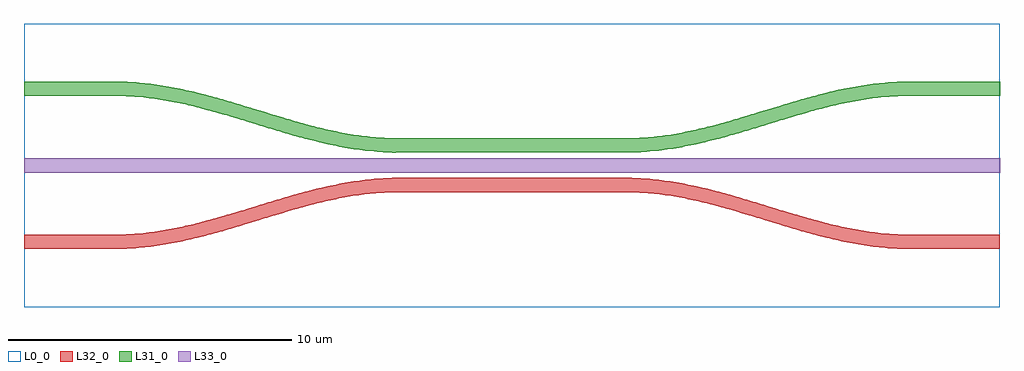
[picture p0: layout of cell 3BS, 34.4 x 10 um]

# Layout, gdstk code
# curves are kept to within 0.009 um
import gdstk
lib = gdstk.Library(unit=1e-6, precision=1e-09)
def R(c, l, rs):  # rectangles x0, y0, x1, y1
    for r in rs: c.add(gdstk.rectangle(r[:2], r[2:], *l))
def P(c, l, *ps):  # polygons
    for p in ps: c.add(gdstk.Polygon(p, *l))
L0_0 = (0, 0)
L1_0 = (1, 0)
L2_0 = (2, 0)
L3_0 = (3, 0)
L4_0 = (4, 0)
L5_0 = (5, 0)
L6_0 = (6, 0)
L7_0 = (7, 0)
L31_0 = (31, 0)
L32_0 = (32, 0)
L33_0 = (33, 0)

c_3bs = lib.new_cell('3BS')
R(c_3bs, L0_0, [(-17.2,-5,17.2,5)])
R(c_3bs, L31_0, [(-3.999,0.46,4.003,0.96)])
P(c_3bs, L31_0, [(4.109,0.459),(4.003,0.46),(4.003,0.96),(4.609,0.978),(5.31,1.048),(5.805,1.125),(6.493,1.264),(7.663,1.567),(10.499,2.413),(11.198,2.593),(11.906,2.746),(12.73,2.877),(13.149,2.921),(13.679,2.953),(17.201,2.958),(17.201,2.458),(13.797,2.456),(13.191,2.423),(12.395,2.324),(11.705,2.195),(10.923,2.009),(10.145,1.793),(7.8,1.086),(7.205,0.923),(6.502,0.754),(5.892,0.633),(5.272,0.539),(4.642,0.479)],
  [(-4.213,0.458),(-4.85,0.494),(-5.477,0.566),(-6.093,0.669),(-6.701,0.799),(-7.797,1.085),(-10.628,1.93),(-11.604,2.173),(-12.392,2.323),(-13.188,2.422),(-13.794,2.455),(-17.198,2.457),(-17.198,2.957),(-13.676,2.952),(-13.146,2.92),(-12.727,2.876),(-11.903,2.745),(-11.195,2.592),(-10.496,2.412),(-7.66,1.566),(-6.49,1.263),(-5.802,1.124),(-5.307,1.047),(-4.606,0.977),(-3.998,0.96),(-3.998,0.46)])
R(c_3bs, L32_0, [(-4.001,-0.94,4.001,-0.44)])
P(c_3bs, L32_0, [(-17.201,-2.938),(-17.201,-2.438),(-13.797,-2.436),(-13.191,-2.403),(-12.593,-2.334),(-11.705,-2.175),(-10.923,-1.989),(-10.145,-1.773),(-7.8,-1.066),(-7.205,-0.903),(-6.502,-0.734),(-5.892,-0.613),(-5.272,-0.519),(-4.642,-0.459),(-4.001,-0.438),(-4.001,-0.938),(-4.609,-0.958),(-5.31,-1.028),(-5.805,-1.105),(-6.493,-1.244),(-7.663,-1.547),(-10.499,-2.393),(-11.198,-2.573),(-11.906,-2.726),(-12.73,-2.857),(-13.149,-2.901),(-13.679,-2.933)],
  [(14,-2.938),(13.465,-2.923),(12.938,-2.881),(12.418,-2.814),(11.803,-2.706),(11.197,-2.573),(10.498,-2.393),(7.662,-1.547),(6.492,-1.244),(5.804,-1.105),(5.309,-1.028),(4.608,-0.958),(4,-0.938),(4,-0.438),(4.641,-0.459),(5.271,-0.519),(5.891,-0.613),(6.501,-0.734),(7.204,-0.903),(7.799,-1.066),(10.144,-1.773),(10.922,-1.989),(11.704,-2.175),(12.394,-2.304),(13.19,-2.403),(13.796,-2.436),(17.2,-2.438),(17.2,-2.938)])
R(c_3bs, L33_0, [(-17.201,-0.25,17.201,0.25)])
c_3bs.add(gdstk.FlexPath([(-15.977,1.085),(-15.977,-0.915),(-15.977,-0.915),(-15.977,-0.915)], 0, ends="flush", simple_path=True, layer=7, datatype=0))  # L7_0
c_3bs.add(gdstk.FlexPath([(-13.977,0.905),(-13.977,-1.095),(-13.977,-1.095),(-13.977,-1.095)], 0, ends="flush", simple_path=True, layer=2, datatype=0))  # L2_0
c_3bs.add(gdstk.FlexPath([(16.104,-1.755),(16.104,-3.755)], 0, ends="flush", simple_path=True, layer=6, datatype=0))  # L6_0
c_3bs.add(gdstk.FlexPath([(16.104,0.845),(16.104,-1.155)], 0, ends="flush", simple_path=True, layer=5, datatype=0))  # L5_0
c_3bs.add(gdstk.FlexPath([(-13.987,3.735),(-13.987,1.735)], 0, ends="flush", simple_path=True, layer=1, datatype=0))  # L1_0
c_3bs.add(gdstk.FlexPath([(16.094,3.675),(16.094,1.675)], 0, ends="flush", simple_path=True, layer=4, datatype=0))  # L4_0
c_3bs.add(gdstk.FlexPath([(-13.987,-1.655),(-13.987,-3.655)], 0, ends="flush", simple_path=True, layer=3, datatype=0))  # L3_0

lib.write_gds('3BS.gds')
